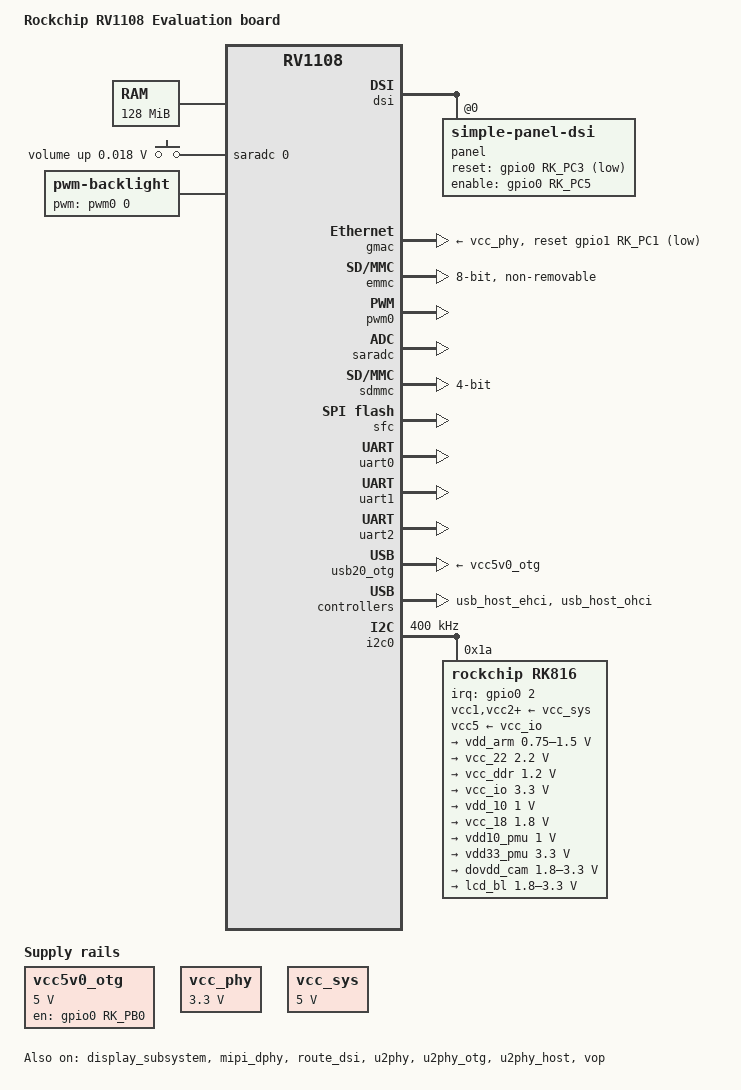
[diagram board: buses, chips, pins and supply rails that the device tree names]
/*
 * (C) Copyright 2016 Rockchip Electronics Co., Ltd
 *
 * SPDX-License-Identifier:     GPL-2.0+
 */

/dts-v1/;

#include "rv1108.dtsi"
#include "rv1108-u-boot.dtsi"
#include "rv1108-sdram-ddr3-400.dtsi"
#include <dt-bindings/input/input.h>

/ {
	model = "Rockchip RV1108 Evaluation board";
	compatible = "rockchip,rv1108-evb", "rockchip,rv1108";

	memory@60000000 {
		device_type = "memory";
		reg = <0x60000000 0x08000000>;
	};

	chosen {
		stdout-path = "serial2:1500000n8";
	};

	adc-keys {
		compatible = "adc-keys";
		io-channels = <&saradc 0>;
		volup-key {
			linux,code = <KEY_VOLUMEUP>;
			label = "volume up";
			press-threshold-microvolt = <18000>;
		};
	};

	backlight: backlight {
		compatible = "pwm-backlight";
		pwms = <&pwm0 0 25000 0>;
		default-brightness-level = <200>;
		brightness-levels = <
			  0   1   2   3   4   5   6   7
			  8   9  10  11  12  13  14  15
			 16  17  18  19  20  21  22  23
			 24  25  26  27  28  29  30  31
			 32  33  34  35  36  37  38  39
			 40  41  42  43  44  45  46  47
			 48  49  50  51  52  53  54  55
			 56  57  58  59  60  61  62  63
			 64  65  66  67  68  69  70  71
			 72  73  74  75  76  77  78  79
			 80  81  82  83  84  85  86  87
			 88  89  90  91  92  93  94  95
			 96  97  98  99 100 101 102 103
			104 105 106 107 108 109 110 111
			112 113 114 115 116 117 118 119
			120 121 122 123 124 125 126 127
			128 129 130 131 132 133 134 135
			136 137 138 139 140 141 142 143
			144 145 146 147 148 149 150 151
			152 153 154 155 156 157 158 159
			160 161 162 163 164 165 166 167
			168 169 170 171 172 173 174 175
			176 177 178 179 180 181 182 183
			184 185 186 187 188 189 190 191
			192 193 194 195 196 197 198 199
			200 201 202 203 204 205 206 207
			208 209 210 211 212 213 214 215
			216 217 218 219 220 221 222 223
			224 225 226 227 228 229 230 231
			232 233 234 235 236 237 238 239
			240 241 242 243 244 245 246 247
			248 249 250 251 252 253 254 255>;
	};

	vcc5v0_otg: vcc5v0-otg-drv {
		compatible = "regulator-fixed";
		enable-active-high;
		regulator-name = "vcc5v0_otg";
		gpio = <&gpio0 RK_PB0 GPIO_ACTIVE_HIGH>;
		regulator-min-microvolt = <5000000>;
		regulator-max-microvolt = <5000000>;
	};

	vcc_phy: vcc-phy-regulator {
		compatible = "regulator-fixed";
		enable-active-high;
		regulator-name = "vcc_phy";
		regulator-min-microvolt = <3300000>;
		regulator-max-microvolt = <3300000>;
		regulator-always-on;
		regulator-boot-on;
	};

	vcc_sys: vcc-sys {
		compatible = "regulator-fixed";
		regulator-name = "vcc_sys";
		regulator-min-microvolt = <5000000>;
		regulator-max-microvolt = <5000000>;
		regulator-always-on;
		regulator-boot-on;
	};
};

&display_subsystem {
	status = "okay";
};

&dsi {
	status = "okay";

	panel: panel@0 {
		compatible = "simple-panel-dsi";
		reset-gpios = <&gpio0 RK_PC3 GPIO_ACTIVE_LOW>;
		enable-gpios = <&gpio0 RK_PC5 GPIO_ACTIVE_HIGH>;
		prepare-delay-ms = <20>;
		reset-delay-ms = <20>;
		init-delay-ms = <20>;
		enable-delay-ms = <20>;
		reg =<0>;
		dsi,flags = <(MIPI_DSI_MODE_VIDEO | MIPI_DSI_MODE_VIDEO_BURST |
			      MIPI_DSI_MODE_LPM | MIPI_DSI_MODE_EOT_PACKET)>;
		dsi,format = <MIPI_DSI_FMT_RGB888>;
		dsi,lanes = <4>;
		status = "okay";

		panel-init-sequence = [
			39 00 06 F0 55 AA 52 08 00
			39 00 05 B0 0F 0F 1E 14
			15 00 02 B2 00
			15 00 02 B6 03
			39 00 15 C0 03 00 06 07 08 09 00 00 00 00 02 00 0A 0B 0C 0D 00 00 00 00
			39 00 11 C1 08 24 24 01 18 24 9F 85 08 24 24 01 18 24 95 85
			39 00 19 C2 03 05 1B 24 13 31 01 05 1B 24 13 31 03 05 1B 38 00 11 02 05 1B 38 00 11
			39 00 19 C3 02 05 1B 24 13 11 03 05 1B 24 13 11 03 05 1B 38 00 11 02 05 1B 38 00 11
			39 00 06 F0 55 AA 52 08 01
			15 00 02 B5 1E
			15 00 02 B6 2D
			15 00 02 B7 04
			15 00 02 B8 05
			15 00 02 B9 04
			15 00 02 BA 14
			15 00 02 BB 2F
			15 00 02 BE 12
			39 00 04 C2 00 35 07
			39 00 06 F0 55 AA 52 08 02
			15 00 02 C9 13
			39 00 04 D4 02 04 2C
			39 00 24 E1 00 91 AE CB E6 54 FF 1e 33 43 55 4F 66 78 8B 55 9D AC C0 CF 55 E0 e8 F2 FB AA 03 0D 15 1F AA 27 2C 31 34
			39 00 24 E2 00 AD C6 E4 FD 55 11 2A 3B 49 55 54 6B 7C 8F 55 A1 AF C3 D1 55 E2 EA F3 FC AA 04 0E 15 20 AA 28 2D 32 35
			39 00 24 E3 55 05 1E 37 4B 55 5A 64 72 7F 55 8B A3 B8 D1 A5 E4 F6 0E 23 AA 39 42 4F 59 AA 64 70 7A 86 AA 90 96 9C 9F
			39 00 07 8F 5A 96 3C C3 A5 69
			15 00 02 89 00
			39 00 04 8C 55 49 53
			15 00 02 9A 5A
			39 00 05 FF A5 5A 13 86
			39 00 03 FE 01 54
			15 00 02 35 00
			15 96 02 11 00
			15 32 02 29 00
		];

		display-timings {
			native-mode = <&timing_e555hbm2>;

			timing_e555hbm2: timing0 {
				clock-frequency = <62000000>;
				hactive = <720>;
				vactive = <1280>;
				hsync-len = <4>;
				hback-porch = <20>;
				hfront-porch = <32>;
				vsync-len = <4>;
				vback-porch = <15>;
				vfront-porch = <15>;
				hsync-active = <0>;
				vsync-active = <0>;
				de-active = <0>;
				pixelclk-active = <0>;
			};
		};
	};
};

&gmac {
	status = "okay";
	clock_in_out ="output";
	phy-supply = <&vcc_phy>;
	snps,reset-active-low;
	snps,reset-delays-us = <0 10000 1000000>;
	snps,reset-gpio = <&gpio1 RK_PC1 GPIO_ACTIVE_LOW>;
};

&emmc {
	bus-width = <8>;
	cap-mmc-highspeed;
	supports-emmc;
	disable-wp;
	non-removable;
	num-slots = <1>;
	status = "okay";
};

&mipi_dphy {
	status = "okay";
};

&pwm0 {
	status = "okay";
};

&route_dsi {
	status = "okay";
};

&saradc {
	status = "okay";
};

&sdmmc {
	bus-width = <4>;
	cap-mmc-highspeed;
	cap-sd-highspeed;
	disable-wp;
	max-frequency = <150000000>;
	pinctrl-names = "default";
	pinctrl-0 = <&sdmmc_clk &sdmmc_cmd &sdmmc_cd &sdmmc_bus4>;
	status = "okay";
};

&sfc {
	compatible = "rockchip,rksfc";
	status = "okay";
};

&u2phy {
	status = "okay";
};

&u2phy_otg {
	status = "okay";
};

&u2phy_host {
	status = "okay";
};

&uart0 {
	status = "okay";
};

&uart1 {
	status = "okay";
};

&uart2 {
	status = "okay";
};

&usb20_otg {
	vbus-supply = <&vcc5v0_otg>;
	status = "okay";
};

&usb_host_ehci {
	status = "okay";
};

&usb_host_ohci {
	status = "okay";
};

&vop {
	status = "okay";
};

&i2c0 {
	i2c-scl-rising-time-ns = <275>;
	i2c-scl-falling-time-ns = <16>;
	clock-frequency = <400000>;
	nack-retry = <1>;
	status = "okay";

	rk816: pmic@1a {
		compatible = "rockchip,rk816";
		reg = <0x1a>;
		interrupt-parent = <&gpio0>;
		interrupts = <2 IRQ_TYPE_LEVEL_LOW>;
		pinctrl-names = "default";
		pinctrl-0 = <&pmic_int_l &pmic_sleep_l>;
		rockchip,system-power-controller;
		wakeup-source;
		gpio-controller;
		#gpio-cells = <2>;
		#clock-cells = <1>;
		clock-output-names = "rk816-clkout1", "rk816-clkout2";
		extcon = <&u2phy>;

		vcc1-supply = <&vcc_sys>;
		vcc2-supply = <&vcc_sys>;
		vcc3-supply = <&vcc_sys>;
		vcc4-supply = <&vcc_sys>;
		vcc5-supply = <&vcc_io>;
		vcc6-supply = <&vcc_sys>;

		gpio {
			status = "okay";
		};

		pwrkey {
			status = "okay";
		};

		rtc {
			status = "okay";
		};
		/*ok*/
		battery {
			compatible = "rk816-battery";
			ocv_table = <3500 3577 3612 3636 3664 3683 3695 3705 
						3714 3728 3742 3761 3785 3814 3847 3878 
						3902 3936 3994 4030 4164>;

			ntc_table = <188500 178600 169200 160400 152100 144300 
						136900 130000 123400 117200 111300 105800 100600 95640 
						90970 86560 82380 78430 74690 71140 67790 64610 61600 
						58740 56030 53460 51030 48710 46520 44430 42450 40570 
						38780 37080 35460 33930 32460 31070 29750 28490 27280 
						26140 25050 24010 23020 22070 21170 20310 19490 18710 
						17960 17250 16570 15910 15290 14700 14130 13590 13070 
						12570 12090 11640 11200 10780 10380 10000 9633 9282 
						8945 8622 8312 8015 7730 7456 7194 6942 6700 6468 
						6245 6031 5826 5628 5438 5255 5080 4911 4749 4592 
						4442 4297 4158 4024 3895 3771 3651 3536 3425 3318 
						3215 3115 3019 2927 2837 2751 2668 2588 2511 2436 
						2364 2295 2227 2163 2100 2039 1981 1924 1869 1817 
						1765 1716 1668 1622 1577 1534 1492 1451 1412 1374 
						1337 1302 1267 1234 1201 1170 1139 1110 1081 1054 
						1027 1001 975 951 927 904 881 860 839 818 798 779 
						760 742 724 707 690 674 658 643 628 613 599 585 
						572 559 547 534>;

			design_capacity = <1970>;
			design_qmax = <2167>;
			bat_res = <165>;
			max_input_current = <2000>;
			max_chrg_current = <1600>;
			max_chrg_voltage = <4200>;
			sleep_enter_current = <300>;
			sleep_exit_current = <300>;
			sleep_filter_current = <100>;
			power_off_thresd = <3500>;
			zero_algorithm_vol = <3950>;
			fb_temperature = <105>;
			sample_res = <20>;
			energy_mode = <1>;
			max_soc_offset = <60>;
			monitor_sec = <5>;
			virtual_power = <0>;
			power_dc2otg = <0>;
			dc_det_adc = <0>;
		};

		regulators {
			/*ok*/
			vdd_arm: DCDC_REG1{
				regulator-name= "vdd_arm";
				regulator-min-microvolt = <750000>;
				regulator-max-microvolt = <1500000>;
				regulator-ramp-delay = <6001>;
				regulator-always-on;
				regulator-boot-on;
				regulator-state-mem {
					regulator-on-in-suspend;
					regulator-suspend-microvolt = <900000>;
				};
			};
			/*ok | witch is used*/
			vcc_22: DCDC_REG2 {
				regulator-name= "vcc_22";
				regulator-min-microvolt = <2200000>;
				regulator-max-microvolt = <2200000>;
				regulator-ramp-delay = <6001>;
				regulator-always-on;
				regulator-boot-on;
				regulator-state-mem {
					regulator-on-in-suspend;
					regulator-suspend-microvolt = <1200000>;
				};
			};

			vcc_ddr: DCDC_REG3 {
				regulator-name = "vcc_ddr";
				regulator-min-microvolt = <1200000>;
				regulator-max-microvolt = <1200000>;
				regulator-always-on;
				regulator-boot-on;
				regulator-state-mem {
					regulator-on-in-suspend;
					regulator-suspend-microvolt = <1200000>;
				};
			};

			vcc_io: DCDC_REG4 {
				regulator-name = "vcc_io";
				regulator-min-microvolt = <3300000>;
				regulator-max-microvolt = <3300000>;
				regulator-always-on;
				regulator-boot-on;
				regulator-state-mem {
					regulator-on-in-suspend;
					regulator-suspend-microvolt = <3000000>;
				};
			};
			/*ok | witch is used*/
			vdd_10: LDO_REG1 {
				regulator-name = "vdd_10";
				regulator-min-microvolt = <1000000>;
				regulator-max-microvolt = <1000000>;
				regulator-always-on;
				regulator-boot-on;
				regulator-state-mem {
					regulator-off-in-suspend;
				};
			};
			/*ok | witch is used*/
			vcc_18: LDO_REG2 {
				regulator-name = "vcc_18";
				regulator-min-microvolt = <1800000>;
				regulator-max-microvolt = <1800000>;
				regulator-always-on;
				regulator-boot-on;
				regulator-state-mem {
					regulator-off-in-suspend;
				};
			};

			vdd10_pmu: LDO_REG3 {
				regulator-name = "vdd10_pmu";
				regulator-min-microvolt = <1000000>;
				regulator-max-microvolt = <1000000>;
				regulator-always-on;
				regulator-boot-on;
				regulator-state-mem {
					regulator-on-in-suspend;
					regulator-suspend-microvolt = <1000000>;
				};
			};

			vdd33_pmu: LDO_REG4 {
				regulator-name= "vdd33_pmu";
				regulator-min-microvolt = <3300000>;
				regulator-max-microvolt = <3300000>;
				regulator-always-on;
				regulator-boot-on;
				regulator-state-mem {
					regulator-on-in-suspend;
					regulator-suspend-microvolt = <3300000>;
				};
			};

			dovdd_cam: LDO_REG5 {
				regulator-name= "dovdd_cam";
				regulator-min-microvolt = <1800000>;
				regulator-max-microvolt = <3300000>;
				regulator-always-on;
				regulator-boot-on;
				regulator-state-mem {
					regulator-off-in-suspend;
				};
			};

			lcd_bl: LDO_REG6 {
				regulator-name= "lcd_bl";
				regulator-min-microvolt = <1800000>;
				regulator-max-microvolt = <3300000>;
				regulator-state-mem {
					regulator-on-in-suspend;
					regulator-suspend-microvolt = <2800000>;
				};
			};
		};
	};
};

&pinctrl {
	pmic {
		pmic_int_l: pmic-int-l {
			rockchip,pins =<0 RK_PB4 RK_FUNC_GPIO &pcfg_pull_up>;
		};
		pmic_sleep_l: pmic-sleep-l {
			rockchip,pins =<0 RK_PB5 RK_FUNC_GPIO &pcfg_pull_down>;
		};
	};
};
